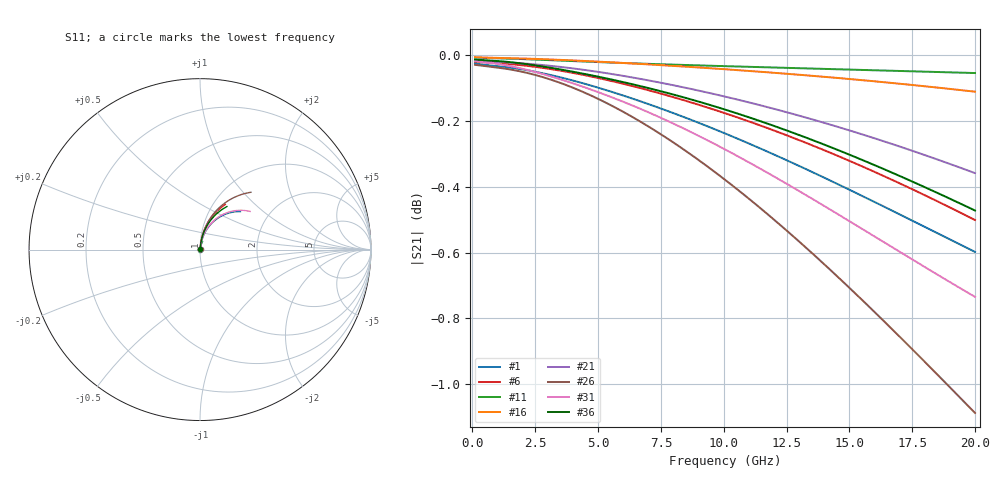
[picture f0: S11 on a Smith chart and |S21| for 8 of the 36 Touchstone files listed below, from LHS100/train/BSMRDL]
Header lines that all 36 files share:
! Touchstone file exported from HFSS 2026.1.0
!  Design:  BSMRDL
! Variables:
! Terminal data exported
# GHz S MA R 50.000000
Fixed: h_ox = 20um, h_rdl = 5um, h_sub = 80um, h_tmrdl = 5um, h_tsv = 80um, h_via = 3um, l_tmrdl = 200um, m_sub = 200um, r_tsv = 6um, s_tmrdl = 10um, w_sub = 500um, w_tmrdl = 12um, x_tsv_center1 = 206um
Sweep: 100 MHz to 20 GHz
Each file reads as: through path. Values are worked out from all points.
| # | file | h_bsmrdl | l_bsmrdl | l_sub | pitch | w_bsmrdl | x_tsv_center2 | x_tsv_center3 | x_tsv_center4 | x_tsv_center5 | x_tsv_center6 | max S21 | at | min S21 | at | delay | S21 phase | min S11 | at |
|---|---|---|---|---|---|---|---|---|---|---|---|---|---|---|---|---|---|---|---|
| 1 | dut0.s2p | 4.41um | 710.52um | 1110.52um | 41.26um | 22.44um | 938.96um | 1150.96um | 1883.92um | 2095.92um | 2828.88um | -0.02 dB | 100 MHz | -0.6 dB | 20 GHz | 6.2 ps | -23 deg at 10.1 GHz | -48.9 dB | 100 MHz |
| 2 | dut1.s2p | 4.74um | 809.33um | 1209.33um | 30.14um | 23.57um | 1038.9um | 1250.9um | 2083.8um | 2295.8um | 3128.7um | -0.03 dB | 100 MHz | -0.2 dB | 20 GHz | 6.27 ps | -23 deg at 10.1 GHz | -50.2 dB | 100 MHz |
| 3 | dut3.s2p | 4.71um | 843.41um | 1243.41um | 41.96um | 22.94um | 1072.35um | 1284.35um | 2150.7um | 2362.7um | 3229.05um | -0.03 dB | 100 MHz | -0.7 dB | 20 GHz | 7.18 ps | -27 deg at 10.1 GHz | -48.0 dB | 100 MHz |
| 4 | dut4.s2p | 5.2um | 394.18um | 794.18um | 31.39um | 22.21um | 622.39um | 834.39um | 1250.78um | 1462.78um | 1879.17um | -0.01 dB | 100 MHz | -0.1 dB | 20 GHz | 3.21 ps | -12 deg at 10.1 GHz | -55.9 dB | 100 MHz |
| 5 | dut5.s2p | 5.16um | 483.08um | 883.08um | 34.93um | 17.05um | 706.13um | 918.13um | 1418.26um | 1630.26um | 2130.39um | -0.02 dB | 100 MHz | -0.4 dB | 20 GHz | 4.35 ps | -16 deg at 10.1 GHz | -51.6 dB | 100 MHz |
| 6 | dut6.s2p | 4.76um | 361.51um | 761.51um | 40.12um | 12.37um | 579.88um | 791.88um | 1165.76um | 1377.76um | 1751.64um | -0.02 dB | 100 MHz | -0.5 dB | 20 GHz | 3.83 ps | -14 deg at 10.1 GHz | -50.8 dB | 100 MHz |
| 7 | dut7.s2p | 5.5um | 861.45um | 1261.45um | 38.67um | 27.12um | 1094.57um | 1306.57um | 2195.14um | 2407.14um | 3295.71um | -0.02 dB | 100 MHz | -0.3 dB | 20 GHz | 6.87 ps | -25 deg at 10.1 GHz | -50.8 dB | 100 MHz |
| 8 | dut8.s2p | 2um | 635.26um | 1035.26um | 27.7um | 24.59um | 865.85um | 1077.85um | 1737.7um | 1949.7um | 2609.55um | -0.04 dB | 100 MHz | -0.2 dB | 20 GHz | 5 ps | -18 deg at 10.1 GHz | -46.0 dB | 100 MHz |
| 9 | dut9.s2p | 4.64um | 490.77um | 890.77um | 19.78um | 12.82um | 709.59um | 921.59um | 1425.18um | 1637.18um | 2140.77um | -0.03 dB | 100 MHz | -0.2 dB | 20 GHz | 3.86 ps | -14 deg at 10.1 GHz | -49.9 dB | 100 MHz |
| 10 | dut10.s2p | 5.42um | 720.04um | 1120.04um | 39.59um | 17.76um | 943.8um | 1155.8um | 1893.6um | 2105.6um | 2843.4um | -0.02 dB | 100 MHz | -0.8 dB | 20 GHz | 6.36 ps | -24 deg at 10.1 GHz | -48.4 dB | 100 MHz |
| 11 | dut11.s2p | 5.65um | 190.89um | 590.89um | 28.92um | 19.88um | 416.77um | 628.77um | 839.54um | 1051.54um | 1262.31um | -0.01 dB | 100 MHz | -0.1 dB | 20 GHz | 1.62 ps | -6 deg at 10.1 GHz | -61.4 dB | 100 MHz |
| 12 | dut12.s2p | 5.2um | 351.36um | 751.36um | 18.48um | 10.84um | 568.2um | 780.2um | 1142.4um | 1354.4um | 1716.6um | -0.02 dB | 100 MHz | -0.1 dB | 20 GHz | 2.81 ps | -10 deg at 10.1 GHz | -52.3 dB | 100 MHz |
| 13 | dut13.s2p | 2.74um | 626.95um | 1026.95um | 43.25um | 23.06um | 856.01um | 1068.01um | 1718.02um | 1930.02um | 2580.03um | -0.03 dB | 100 MHz | -0.6 dB | 20 GHz | 5.77 ps | -22 deg at 10.1 GHz | -47.1 dB | 100 MHz |
| 14 | dut14.s2p | 4.91um | 789.45um | 1189.45um | 26.89um | 11.84um | 1007.29um | 1219.29um | 2020.58um | 2232.58um | 3033.87um | -0.04 dB | 100 MHz | -0.8 dB | 20 GHz | 6.67 ps | -26 deg at 10.1 GHz | -45.2 dB | 100 MHz |
| 15 | dut15.s2p | 2.21um | 558.38um | 958.38um | 46.16um | 14.13um | 778.51um | 990.51um | 1563.02um | 1775.02um | 2347.53um | -0.06 dB | 100 MHz | -1.2 dB | 20 GHz | 5.95 ps | -23 deg at 10.1 GHz | -42.9 dB | 100 MHz |
| 16 | dut16.s2p | 4.8um | 141.85um | 541.85um | 46.85um | 18.5um | 366.35um | 578.35um | 738.7um | 950.7um | 1111.05um | -0.01 dB | 100 MHz | -0.1 dB | 20 GHz | 1.73 ps | -6 deg at 10.1 GHz | -59.6 dB | 100 MHz |
| 17 | dut17.s2p | 3.65um | 175.63um | 575.63um | 36.43um | 29.73um | 411.36um | 623.36um | 828.72um | 1040.72um | 1246.08um | -0.01 dB | 100 MHz | 0.0 dB | 20 GHz | 1.53 ps | -6 deg at 10.1 GHz | -60.9 dB | 100 MHz |
| 18 | dut18.s2p | 3.32um | 596.67um | 996.67um | 57.65um | 29.25um | 831.92um | 1043.92um | 1669.84um | 1881.84um | 2507.76um | -0.02 dB | 100 MHz | -0.7 dB | 20 GHz | 5.72 ps | -22 deg at 10.1 GHz | -49.3 dB | 100 MHz |
| 19 | dut19.s2p | 2.44um | 323.57um | 723.57um | 47.77um | 25.42um | 554.99um | 766.99um | 1115.98um | 1327.98um | 1676.97um | -0.02 dB | 100 MHz | -0.3 dB | 20 GHz | 3.35 ps | -12 deg at 10.1 GHz | -51.8 dB | 100 MHz |
| 20 | dut20.s2p | 2.66um | 186.48um | 586.48um | 19.39um | 11.36um | 403.84um | 615.84um | 813.68um | 1025.68um | 1223.52um | -0.02 dB | 100 MHz | -0.1 dB | 20 GHz | 1.68 ps | -6 deg at 10.1 GHz | -52.2 dB | 100 MHz |
| 21 | dut21.s2p | 4.17um | 271.1um | 671.1um | 41.42um | 12.5um | 489.6um | 701.6um | 985.2um | 1197.2um | 1480.8um | -0.02 dB | 100 MHz | -0.4 dB | 20 GHz | 3.08 ps | -12 deg at 10.1 GHz | -52.3 dB | 100 MHz |
| 22 | dut22.s2p | 5.32um | 969.31um | 1369.31um | 58.59um | 27.39um | 1202.7um | 1414.7um | 2411.4um | 2623.4um | 3620.1um | -0.02 dB | 100 MHz | -1.2 dB | 20 GHz | 8.43 ps | -33 deg at 10.1 GHz | -47.0 dB | 100 MHz |
| 23 | dut23.s2p | 2.6um | 683.76um | 1083.76um | 51.6um | 19.71um | 909.47um | 1121.47um | 1824.94um | 2036.94um | 2740.41um | -0.04 dB | 100 MHz | -1.2 dB | 20 GHz | 6.74 ps | -26 deg at 10.1 GHz | -44.5 dB | 100 MHz |
| 24 | dut24.s2p | 3.61um | 332.37um | 732.37um | 30.22um | 17.94um | 556.31um | 768.31um | 1118.62um | 1330.62um | 1680.93um | -0.02 dB | 100 MHz | -0.2 dB | 20 GHz | 2.97 ps | -11 deg at 10.1 GHz | -53.0 dB | 100 MHz |
| 25 | dut25.s2p | 3.02um | 869.61um | 1269.61um | 21.42um | 10.09um | 1085.7um | 1297.7um | 2177.4um | 2389.4um | 3269.1um | -0.09 dB | 100 MHz | -1.0 dB | 20 GHz | 7.29 ps | -28 deg at 10.1 GHz | -39.7 dB | 100 MHz |
| 26 | dut27.s2p | 4.12um | 524.38um | 924.38um | 49.89um | 13.7um | 744.08um | 956.08um | 1494.16um | 1706.16um | 2244.24um | -0.03 dB | 100 MHz | -1.1 dB | 20 GHz | 5.59 ps | -22 deg at 10.1 GHz | -47.1 dB | 100 MHz |
| 27 | dut28.s2p | 5.79um | 376.28um | 776.28um | 43.12um | 24.23um | 606.51um | 818.51um | 1219.02um | 1431.02um | 1831.53um | -0.01 dB | 100 MHz | -0.2 dB | 20 GHz | 3.42 ps | -13 deg at 10.1 GHz | -55.8 dB | 100 MHz |
| 28 | dut29.s2p | 2.78um | 912.58um | 1312.58um | 42.76um | 25.93um | 1144.51um | 1356.51um | 2295.02um | 2507.02um | 3445.53um | -0.04 dB | 100 MHz | -0.7 dB | 20 GHz | 7.77 ps | -30 deg at 10.1 GHz | -45.2 dB | 100 MHz |
| 29 | dut31.s2p | 3.46um | 671.32um | 1071.32um | 54.26um | 23.3um | 900.62um | 1112.62um | 1807.24um | 2019.24um | 2713.86um | -0.03 dB | 100 MHz | -1.0 dB | 20 GHz | 6.45 ps | -25 deg at 10.1 GHz | -47.3 dB | 100 MHz |
| 30 | dut32.s2p | 5.05um | 794.42um | 1194.42um | 35.99um | 21.26um | 1021.68um | 1233.68um | 2049.36um | 2261.36um | 3077.04um | -0.02 dB | 100 MHz | -0.5 dB | 20 GHz | 6.58 ps | -25 deg at 10.1 GHz | -49.0 dB | 100 MHz |
| 31 | dut33.s2p | 5.95um | 817.48um | 1217.48um | 53.77um | 28.46um | 1051.94um | 1263.94um | 2109.88um | 2321.88um | 3167.82um | -0.02 dB | 100 MHz | -0.7 dB | 20 GHz | 7.09 ps | -27 deg at 10.1 GHz | -49.6 dB | 100 MHz |
| 32 | dut34.s2p | 3.17um | 270.15um | 670.15um | 47.93um | 26.98um | 503.13um | 715.13um | 1012.26um | 1224.26um | 1521.39um | -0.01 dB | 100 MHz | -0.2 dB | 20 GHz | 2.76 ps | -10 deg at 10.1 GHz | -55.1 dB | 100 MHz |
| 33 | dut35.s2p | 2.51um | 538.73um | 938.73um | 45.88um | 28.18um | 772.91um | 984.91um | 1551.82um | 1763.82um | 2330.73um | -0.03 dB | 100 MHz | -0.4 dB | 20 GHz | 4.94 ps | -18 deg at 10.1 GHz | -49.0 dB | 100 MHz |
| 34 | dut36.s2p | 2.69um | 163.51um | 563.51um | 13.76um | 10.53um | 380.04um | 592.04um | 766.08um | 978.08um | 1152.12um | -0.02 dB | 100 MHz | -0.1 dB | 20 GHz | 1.3 ps | -5 deg at 10.1 GHz | -52.9 dB | 100 MHz |
| 35 | dut38.s2p | 2.09um | 199.27um | 599.27um | 44.29um | 18.36um | 423.63um | 635.63um | 853.26um | 1065.26um | 1282.89um | -0.02 dB | 100 MHz | -0.2 dB | 20 GHz | 2.4 ps | -9 deg at 10.1 GHz | -52.2 dB | 100 MHz |
| 36 | dut39.s2p | 5.81um | 425.81um | 825.81um | 48.39um | 19.34um | 651.15um | 863.15um | 1308.3um | 1520.3um | 1965.45um | -0.01 dB | 100 MHz | -0.5 dB | 20 GHz | 4.23 ps | -16 deg at 10.1 GHz | -52.6 dB | 100 MHz |
